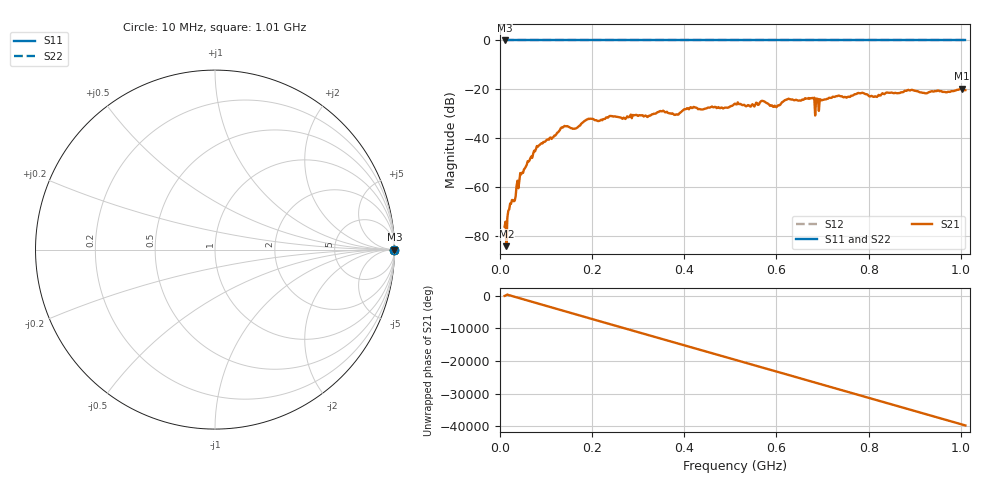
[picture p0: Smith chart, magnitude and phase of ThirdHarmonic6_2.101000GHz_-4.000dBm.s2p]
! 8/17/2025 1:08:01 AM
! C:\ANRITSUVNA\TEMP\TEMP.S2P
! CHANNEL.1
! TR.MEASUREMENT
! RAW.DATA
! RF.CORRECTION.OFF
! AVERAGING.OFF
! IF.BANDWIDTH: 5KHZ
! SWEEPTYPE:  FREQ.SWEEP(Linear)
! Reference Plane Port Info
! PORT:  PORT1  PORT2
! DISTANCE:  0  m  0  m
! TIME:  0  s  0  s
! PHASE.OFFSET:  0  deg.  0  deg.
! LOSS:  0  dB  0  dB
! REF.LOSS:  0  dB  0  dB
! REF.FREQ:  0  Hz  0  Hz
! Power Info
! POWER:  -20  dBm  -20  dBm
! EFF.POWER:  -20  dBm  -20  dBm
! SOURCE.ATTEN:  0  dB  0  dB
! TEST.ATTEN:  0  dB  0  dB
# GHZ S RI R 50.0
! FREQ.GHZ  S11RE  S11IM  S21RE  S21IM  S12RE  S12IM  S22RE  S22IM
!; PortSelection: Port_12
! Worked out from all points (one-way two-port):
!   501 points, 10 MHz to 1.01 GHz, reference 50 ohm
!   highest |S21| = -19.71 dB at 1.002 GHz (marker M1); lowest = -84.2 dB at 14 MHz (marker M2)
!   lowest |S11| = 0.0 dB at 10 MHz (marker M3)
!   |S11| at or under -10 dB: nowhere
!   |S22| runs from 0.0 to 0.0 dB; largest |S21 - S12| = 1.1
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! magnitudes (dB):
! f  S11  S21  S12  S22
! 10 MHz  0.0  -76.2  0.0  0.0
! 14 MHz  0.0  -84.2  0.0  0.0
! 22 MHz  0.0  -66.7  0.0  0.0
! 30 MHz  0.0  -65.8  0.0  0.0
! 46 MHz  0.0  -54.8  0.0  0.0
! 78 MHz  0.0  -44.5  0.0  0.0
! 136 MHz  0.0  -35.7  0.0  0.0
! 162 MHz  0.0  -36.1  0.0  0.0
! 178 MHz  0.0  -33.8  0.0  0.0
! 344 MHz  0.0  -29.3  0.0  0.0
! 382 MHz  0.0  -30.3  0.0  0.0
! 416 MHz  0.0  -27.6  0.0  0.0
! 510 MHz  0.0  -25.8  0.0  0.0
! 570 MHz  0.0  -24.7  0.0  0.0
! 596 MHz  0.0  -26.7  0.0  0.0
! 624 MHz  0.0  -24.1  0.0  0.0
! 678 MHz  0.0  -23.5  0.0  0.0
! 688 MHz  0.0  -23.8  0.0  0.0
! 732 MHz  0.0  -22.8  0.0  0.0
! 844 MHz  0.0  -21.4  0.0  0.0
! 1.002 GHz  0.0  -19.7  0.0  0.0
! 1.01 GHz  0.0  -20.3  0.0  0.0
